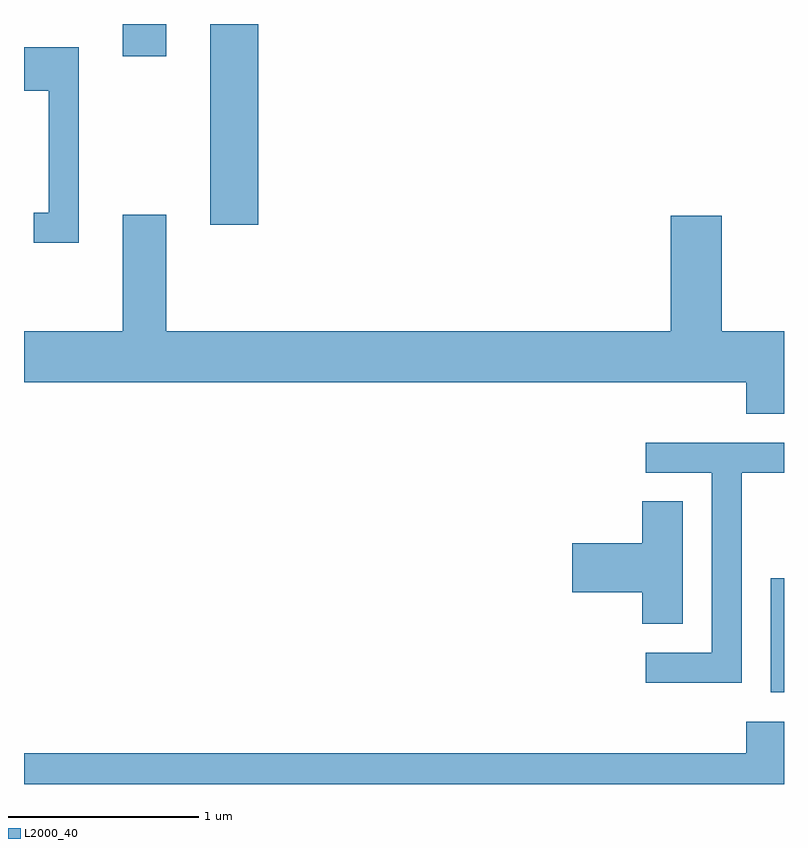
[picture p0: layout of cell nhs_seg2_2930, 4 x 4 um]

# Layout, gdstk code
import gdstk
lib = gdstk.Library(unit=1e-6, precision=1e-09)
def R(c, l, rs):  # rectangles x0, y0, x1, y1
    for r in rs: c.add(gdstk.rectangle(r[:2], r[2:], *l))
def P(c, l, *ps):  # polygons
    for p in ps: c.add(gdstk.Polygon(p, *l))
L2000_40 = (2000, 40)

nhs_seg2_2930 = lib.new_cell('nhs_seg2_2930')
R(nhs_seg2_2930, L2000_40, [(275.541,1002.286,275.611,1002.884), (272.591,1004.746,272.844,1005.802), (272.131,1005.631,272.359,1005.802)])
P(nhs_seg2_2930, L2000_40, [(271.899,1005.679),(271.611,1005.679),(271.611,1005.451),(271.741,1005.451),(271.741,1004.809),(271.663,1004.809),(271.663,1004.651),(271.899,1004.651)],
  [(275.611,1004.184),(275.284,1004.184),(275.284,1004.794),(275.016,1004.794),(275.016,1004.184),(272.359,1004.184),(272.359,1004.799),(272.131,1004.799),(272.131,1004.184),(271.611,1004.184),(271.611,1003.916),(275.411,1003.916),(275.411,1003.751),(275.611,1003.751)],
  [(275.389,1003.441),(275.611,1003.441),(275.611,1003.599),(274.883,1003.599),(274.883,1003.441),(275.231,1003.441),(275.231,1002.494),(274.883,1002.494),(274.883,1002.336),(275.389,1002.336)],
  [(275.079,1003.289),(274.866,1003.289),(274.866,1003.069),(274.496,1003.069),(274.496,1002.811),(274.866,1002.811),(274.866,1002.646),(275.079,1002.646)],
  [(275.611,1002.129),(275.411,1002.129),(275.411,1001.964),(271.611,1001.964),(271.611,1001.802),(275.611,1001.802)])

lib.write_gds('nhs_seg2_2930.gds')
